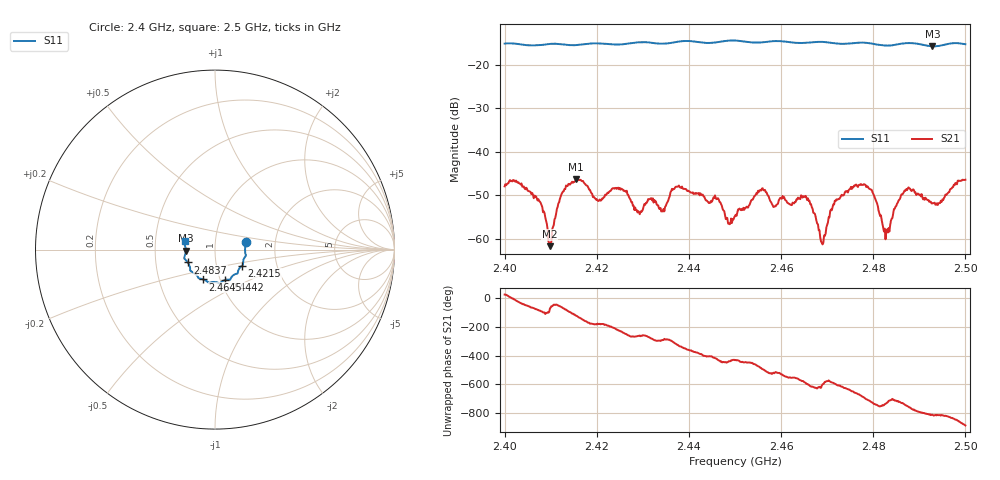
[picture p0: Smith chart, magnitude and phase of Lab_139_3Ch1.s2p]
# Hz S RI R 50
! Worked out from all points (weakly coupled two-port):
!   601 points, 2.4 GHz to 2.5 GHz, reference 50 ohm
!   highest |S21| = -46.23 dB at 2.4155 GHz (marker M1); lowest = -61.7 dB at 2.4098 GHz (marker M2)
!   lowest |S11| = -15.7 dB at 2.4928 GHz (marker M3), VSWR 1.39, Z = 36 - j0.384 ohm
!   |S11| at or under -10 dB: start of sweep to end of sweep
!   S12 and S22 are empty: the file has one direction only
!   S11 on the Smith chart (normalised r, x): 2.4 GHz: 1.41, +0.12; 2.4215 GHz: 1.33, -0.25; 2.4442 GHz: 1.05, -0.37; 2.4645 GHz: 0.83, -0.29; 2.4837 GHz: 0.73, -0.11; 2.5 GHz: 0.71, +0.07
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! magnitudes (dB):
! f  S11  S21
! 2.4 GHz  -15.1  -47.9
! 2.4073 GHz  -15.5  -50.9
! 2.4098 GHz  -15.2  -61.7
! 2.4125 GHz  -15.3  -49.4
! 2.4155 GHz  -15.4  -46.2
! 2.4167 GHz  -15.3  -46.6
! 2.4215 GHz  -15.1  -50.4
! 2.4333 GHz  -15.1  -52.3
! 2.4375 GHz  -14.7  -48.0
! 2.4442 GHz  -15.0  -51.5
! 2.45 GHz  -14.4  -54.7
! 2.4555 GHz  -14.8  -48.8
! 2.4645 GHz  -15.0  -50.1
! 2.4667 GHz  -14.8  -52.7
! 2.469 GHz  -14.7  -61.2
! 2.4718 GHz  -15.1  -51.3
! 2.4778 GHz  -14.9  -47.5
! 2.4833 GHz  -15.6  -57.5
! 2.4837 GHz  -15.5  -56.9
! 2.4873 GHz  -15.0  -48.8
! 2.4928 GHz  -15.7  -51.8
! 2.5 GHz  -15.2  -46.4
